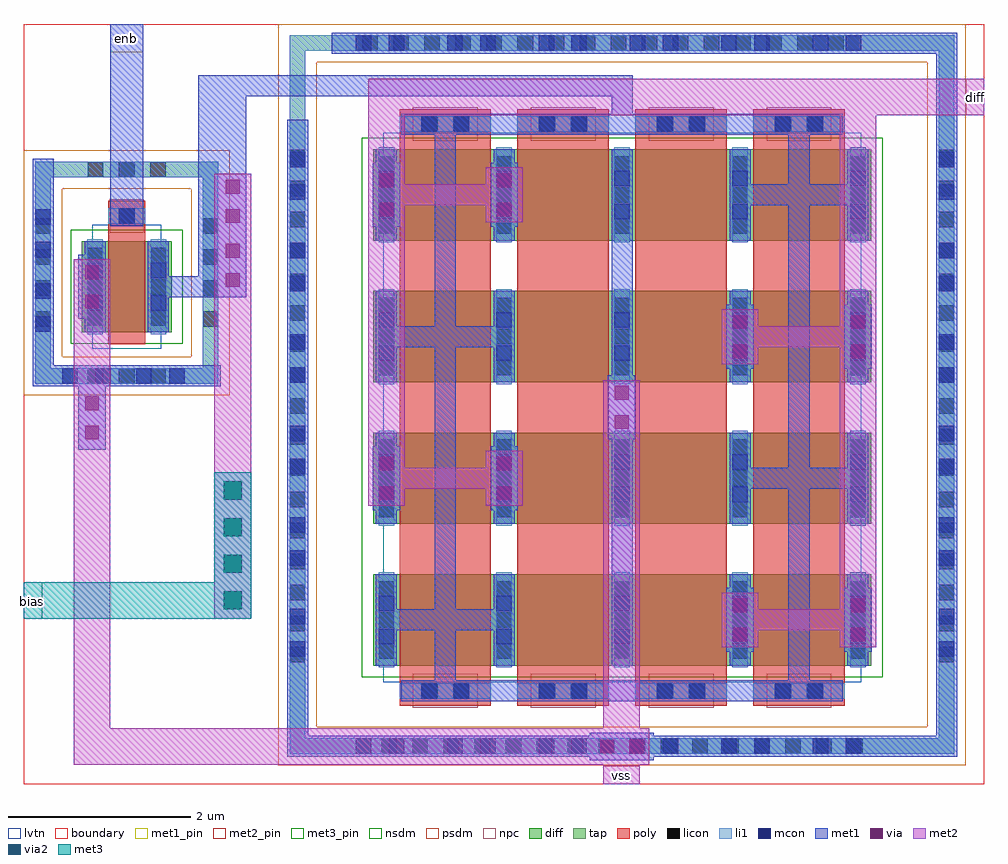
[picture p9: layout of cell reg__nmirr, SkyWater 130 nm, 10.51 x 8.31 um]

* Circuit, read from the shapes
.subckt reg__nmirr bias diff enb vss
XM1 bias enb vss vss sky130_fd_pr__nfet_01v8_lvt w=1 l=0.4
XM2 bias bias bias vss sky130_fd_pr__nfet_01v8_lvt w=1 l=1 m=4
XM3 diff bias diff vss sky130_fd_pr__nfet_01v8_lvt w=1 l=1 m=4
XM4 vss bias bias vss sky130_fd_pr__nfet_01v8_lvt w=1 l=1 m=4
XM5 vss bias diff vss sky130_fd_pr__nfet_01v8_lvt w=1 l=1 m=4
.ends

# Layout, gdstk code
from math import pi, radians
import gdstk
lib = gdstk.Library(unit=1e-6, precision=1e-09)
def R(c, l, rs):  # rectangles x0, y0, x1, y1
    for r in rs: c.add(gdstk.rectangle(r[:2], r[2:], *l))
def A(c, l, x, y, w, h, nx, ny, dx, dy):  # array of equal rectangles
    R(c, l, [(x+i*dx, y+j*dy, x+i*dx+w, y+j*dy+h) for i in range(nx) for j in range(ny)])
diff = (65, 20)
tap = (65, 44)
poly = (66, 20)
licon = (66, 44)
li1 = (67, 20)
mcon = (67, 44)
met1_pin = (68, 16)
met1 = (68, 20)
via = (68, 44)
met2_pin = (69, 16)
met2 = (69, 20)
via2 = (69, 44)
met3_pin = (70, 16)
met3 = (70, 20)
nsdm = (93, 44)
psdm = (94, 20)
npc = (95, 20)
lvtn = (125, 44)
boundary = (235, 4)

via__m1_m2 = lib.new_cell('via__M1_M2')
R(via__m1_m2, met1, [(0,0.05,0.7,0.35)])
R(via__m1_m2, via, [(0.115,0.125,0.265,0.275), (0.435,0.125,0.585,0.275)])
R(via__m1_m2, met2, [(0.05,0,0.65,0.4)])

regnm__m6_gate = lib.new_cell('regnm__M6_gate')
R(regnm__m6_gate, diff, [(-0.79,-0.655,0.79,0.345)])
R(regnm__m6_gate, poly, [(-0.5,-0.785,0.5,0.785)])
A(regnm__m6_gate, licon, -0.73, -0.58, 0.17, 0.17, 1, 3, 0, 0.34)
A(regnm__m6_gate, licon, 0.56, -0.58, 0.17, 0.17, 1, 3, 0, 0.34)
R(regnm__m6_gate, licon, [(-0.255,0.535,-0.085,0.705), (0.085,0.535,0.255,0.705)])
R(regnm__m6_gate, li1, [(-0.73,-0.675,-0.56,0.365), (0.56,-0.675,0.73,0.365), (-0.5,0.535,0.5,0.705)])
R(regnm__m6_gate, mcon, [(-0.73,-0.42,-0.56,-0.25), (0.56,-0.42,0.73,-0.25), (-0.73,-0.06,-0.56,0.11), (0.56,-0.06,0.73,0.11), (-0.265,0.535,-0.095,0.705), (0.095,0.535,0.265,0.705)])
R(regnm__m6_gate, met1, [(-0.76,-0.655,-0.53,0.345), (0.53,-0.655,0.76,0.345), (-0.48,0.505,0.48,0.735)])
R(regnm__m6_gate, nsdm, [(-0.915,-0.78,0.915,0.47)])
R(regnm__m6_gate, npc, [(-0.355,0.435,0.355,0.805)])
R(regnm__m6_gate, lvtn, [(-0.68,-0.835,0.68,0.525)])

regnm__m5_gate = lib.new_cell('regnm__M5_gate')
R(regnm__m5_gate, diff, [(-0.79,-0.655,0.79,0.345)])
R(regnm__m5_gate, poly, [(-0.5,-0.785,0.5,0.785)])
A(regnm__m5_gate, licon, -0.73, -0.58, 0.17, 0.17, 1, 3, 0, 0.34)
A(regnm__m5_gate, licon, 0.56, -0.58, 0.17, 0.17, 1, 3, 0, 0.34)
R(regnm__m5_gate, licon, [(-0.255,0.535,-0.085,0.705), (0.085,0.535,0.255,0.705)])
R(regnm__m5_gate, li1, [(-0.73,-0.675,-0.56,0.365), (0.56,-0.675,0.73,0.365), (-0.5,0.535,0.5,0.705)])
R(regnm__m5_gate, mcon, [(-0.73,-0.42,-0.56,-0.25), (0.56,-0.42,0.73,-0.25), (-0.73,-0.06,-0.56,0.11), (0.56,-0.06,0.73,0.11), (-0.265,0.535,-0.095,0.705), (0.095,0.535,0.265,0.705)])
R(regnm__m5_gate, met1, [(-0.76,-0.655,-0.53,0.345), (0.53,-0.655,0.76,0.345), (-0.48,0.505,0.48,0.735)])
R(regnm__m5_gate, nsdm, [(-0.915,-0.78,0.915,0.47)])
R(regnm__m5_gate, npc, [(-0.355,0.435,0.355,0.805)])
R(regnm__m5_gate, lvtn, [(-0.68,-0.835,0.68,0.525)])

regnm__dum_2 = lib.new_cell('regnm__DUM_2')
R(regnm__dum_2, diff, [(-0.79,-0.655,0.79,0.345)])
R(regnm__dum_2, poly, [(-0.5,-0.785,0.5,0.785)])
A(regnm__dum_2, licon, -0.73, -0.58, 0.17, 0.17, 1, 3, 0, 0.34)
A(regnm__dum_2, licon, 0.56, -0.58, 0.17, 0.17, 1, 3, 0, 0.34)
R(regnm__dum_2, licon, [(-0.255,0.535,-0.085,0.705), (0.085,0.535,0.255,0.705)])
R(regnm__dum_2, li1, [(-0.73,-0.675,-0.56,0.365), (0.56,-0.675,0.73,0.365), (-0.5,0.535,0.5,0.705)])
R(regnm__dum_2, mcon, [(-0.73,-0.42,-0.56,-0.25), (0.56,-0.42,0.73,-0.25), (-0.73,-0.06,-0.56,0.11), (0.56,-0.06,0.73,0.11), (-0.265,0.535,-0.095,0.705), (0.095,0.535,0.265,0.705)])
R(regnm__dum_2, met1, [(-0.76,-0.655,-0.53,0.345), (0.53,-0.655,0.76,0.345), (-0.48,0.505,0.48,0.735)])
R(regnm__dum_2, nsdm, [(-0.915,-0.78,0.915,0.47)])
R(regnm__dum_2, npc, [(-0.355,0.435,0.355,0.805)])
R(regnm__dum_2, lvtn, [(-0.68,-0.835,0.68,0.525)])

regnm__m5 = lib.new_cell('regnm__M5')
R(regnm__m5, diff, [(-0.79,-0.5,0.79,0.5)])
R(regnm__m5, poly, [(-0.5,-0.63,0.5,0.63)])
A(regnm__m5, licon, -0.73, -0.425, 0.17, 0.17, 1, 3, 0, 0.34)
A(regnm__m5, licon, 0.56, -0.425, 0.17, 0.17, 1, 3, 0, 0.34)
R(regnm__m5, li1, [(-0.73,-0.52,-0.56,0.52), (0.56,-0.52,0.73,0.52)])
R(regnm__m5, mcon, [(-0.73,-0.265,-0.56,-0.095), (0.56,-0.265,0.73,-0.095), (-0.73,0.095,-0.56,0.265), (0.56,0.095,0.73,0.265)])
R(regnm__m5, met1, [(-0.76,-0.5,-0.53,0.5), (0.53,-0.5,0.76,0.5)])
R(regnm__m5, nsdm, [(-0.915,-0.625,0.915,0.625)])
R(regnm__m5, lvtn, [(-0.68,-0.68,0.68,0.68)])

regnm__m6 = lib.new_cell('regnm__M6')
R(regnm__m6, diff, [(-0.79,-0.5,0.79,0.5)])
R(regnm__m6, poly, [(-0.5,-0.63,0.5,0.63)])
A(regnm__m6, licon, -0.73, -0.425, 0.17, 0.17, 1, 3, 0, 0.34)
A(regnm__m6, licon, 0.56, -0.425, 0.17, 0.17, 1, 3, 0, 0.34)
R(regnm__m6, li1, [(-0.73,-0.52,-0.56,0.52), (0.56,-0.52,0.73,0.52)])
R(regnm__m6, mcon, [(-0.73,-0.265,-0.56,-0.095), (0.56,-0.265,0.73,-0.095), (-0.73,0.095,-0.56,0.265), (0.56,0.095,0.73,0.265)])
R(regnm__m6, met1, [(-0.76,-0.5,-0.53,0.5), (0.53,-0.5,0.76,0.5)])
R(regnm__m6, nsdm, [(-0.915,-0.625,0.915,0.625)])
R(regnm__m6, lvtn, [(-0.68,-0.68,0.68,0.68)])

regnm__dum_1 = lib.new_cell('regnm__DUM_1')
R(regnm__dum_1, diff, [(-0.79,-0.5,0.79,0.5)])
R(regnm__dum_1, poly, [(-0.5,-0.63,0.5,0.63)])
A(regnm__dum_1, licon, -0.73, -0.425, 0.17, 0.17, 1, 3, 0, 0.34)
A(regnm__dum_1, licon, 0.56, -0.425, 0.17, 0.17, 1, 3, 0, 0.34)
R(regnm__dum_1, li1, [(-0.73,-0.52,-0.56,0.52), (0.56,-0.52,0.73,0.52)])
R(regnm__dum_1, mcon, [(-0.73,-0.265,-0.56,-0.095), (0.56,-0.265,0.73,-0.095), (-0.73,0.095,-0.56,0.265), (0.56,0.095,0.73,0.265)])
R(regnm__dum_1, met1, [(-0.76,-0.5,-0.53,0.5), (0.53,-0.5,0.76,0.5)])
R(regnm__dum_1, nsdm, [(-0.915,-0.625,0.915,0.625)])
R(regnm__dum_1, lvtn, [(-0.68,-0.68,0.68,0.68)])

regnm__m9 = lib.new_cell('regnm__M9')
R(regnm__m9, diff, [(-0.49,-0.655,0.49,0.345)])
R(regnm__m9, tap, [(-1,-1.215,1,-1.045), (-1,-1.045,-0.83,1.045), (0.83,-1.045,1,1.045), (-1,1.045,1,1.215)])
R(regnm__m9, poly, [(-0.2,-0.785,0.2,0.785)])
A(regnm__m9, licon, -0.425, -1.215, 0.17, 0.17, 3, 2, 0.34, 2.26)
A(regnm__m9, licon, -1, -0.595, 0.17, 0.17, 1, 4, 0, 0.34)
A(regnm__m9, licon, 0.83, -0.595, 0.17, 0.17, 1, 4, 0, 0.34)
A(regnm__m9, licon, -0.43, -0.58, 0.17, 0.17, 1, 3, 0, 0.34)
A(regnm__m9, licon, 0.26, -0.58, 0.17, 0.17, 1, 3, 0, 0.34)
R(regnm__m9, licon, [(-0.085,0.535,0.085,0.705)])
R(regnm__m9, li1, [(-1,-1.215,1,-1.045), (-1,-1.045,-0.83,1.045), (0.83,-1.045,1,1.045), (-0.43,-0.675,-0.26,0.365), (0.26,-0.675,0.43,0.365), (-0.2,0.535,0.2,0.705), (-1,1.045,1,1.215)])
R(regnm__m9, mcon, [(-0.43,-0.42,-0.26,-0.25), (0.26,-0.42,0.43,-0.25), (-0.43,-0.06,-0.26,0.11), (0.26,-0.06,0.43,0.11), (-0.085,0.535,0.085,0.705)])
R(regnm__m9, met1, [(-0.46,-0.655,-0.23,0.345), (0.23,-0.655,0.46,0.345), (-0.18,0.505,0.18,0.735)])
R(regnm__m9, nsdm, [(-0.615,-0.78,0.615,0.47)])
R(regnm__m9, psdm, [(-1.125,-1.34,1.125,-0.92), (-1.125,-0.92,-0.705,0.92), (0.705,-0.92,1.125,0.92), (-1.125,0.92,1.125,1.34)])
R(regnm__m9, npc, [(-0.185,0.435,0.185,0.805)])
R(regnm__m9, lvtn, [(-0.38,-0.835,0.38,0.525)])
R(regnm__m9, boundary, [(-0.915,-1.13,0.915,1.13)])

regnm__guardring_n = lib.new_cell('regnm__Guardring_N')
A(regnm__guardring_n, licon, -19.74, -8.68, 0.17, 0.17, 16, 1, 0.34, 0)
A(regnm__guardring_n, licon, -20.74, -7.68, 0.17, 0.17, 1, 17, 0, 0.34)
A(regnm__guardring_n, licon, -13.64, -7.68, 0.17, 0.17, 1, 17, 0, 0.34)
A(regnm__guardring_n, licon, -19.95, -0.99, 0.17, 0.17, 16, 1, 0.34, 0)
regnm__guardring_n.add(gdstk.FlexPath([(-20.74,-0.905),(-13.555,-0.905),(-13.555,-8.595),(-20.655,-8.595),(-20.655,-0.905)], 0.17, ends="flush", simple_path=True, layer=67, datatype=20))  # li1
regnm__guardring_n.add(gdstk.FlexPath([(-20.74,-0.905),(-13.555,-0.905),(-13.555,-8.595),(-20.655,-8.595),(-20.655,-0.905)], 0.17, ends="flush", simple_path=True, layer=65, datatype=44))  # tap
regnm__guardring_n.add(gdstk.FlexPath([(-20.865,-0.905),(-13.555,-0.905),(-13.555,-8.595),(-20.655,-8.595),(-20.655,-0.905)], 0.42, ends="flush", simple_path=True, layer=94, datatype=20))  # psdm

via__li_m1 = lib.new_cell('via__LI_M1')
R(via__li_m1, li1, [(0.03,0.03,0.56,0.2)])
R(via__li_m1, mcon, [(0.03,0.03,0.2,0.2), (0.39,0.03,0.56,0.2)])
R(via__li_m1, met1, [(0,0,0.59,0.23)])

via__m2_m3 = lib.new_cell('via__M2_M3')
R(via__m2_m3, met2, [(0,0,0.8,0.4)])
R(via__m2_m3, via2, [(0.1,0.1,0.3,0.3), (0.1,0.1,0.3,0.3), (0.5,0.1,0.7,0.3), (0.5,0.1,0.7,0.3)])
R(via__m2_m3, met3, [(0,0,0.8,0.4)])

reg__nmirr = lib.new_cell('reg__nmirr')
A(reg__nmirr, poly, 4.11, 1.165, 1, 5.91, 4, 1, 1.29, 0)
R(reg__nmirr, met1_pin, [(0.945,8.005,1.305,8.315)])
R(reg__nmirr, met1, [(4.725,0.905,5.42,1.135), (6.38,0.905,6.71,1.135), (7.67,0.905,8.365,1.135), (0.945,6.1,1.305,8.315), (2.135,6.725,2.435,7.755), (4.725,7.105,5.42,7.335), (6.38,7.105,6.71,7.335), (7.67,7.105,8.365,7.335)])
R(reg__nmirr, met2_pin, [(6.34,0,6.74,0.2), (10.305,7.315,10.505,7.715)])
R(reg__nmirr, met3_pin, [(0,1.81,0.2,2.21)])
R(reg__nmirr, nsdm, [(3.695,1.17,9.395,7.07)])
R(reg__nmirr, lvtn, [(3.93,1.115,9.16,7.125)])
R(reg__nmirr, boundary, [(0,0,10.505,8.315)])
reg__nmirr.add(gdstk.FlexPath([(6.545,7.64),(2.02,7.64)], 0.23, ends="extended", simple_path=True, layer=68, datatype=20))  # met1
reg__nmirr.add(gdstk.FlexPath([(3.965,4.895),(4.61,4.895)], 0.23, ends="extended", simple_path=True, layer=68, datatype=20))  # met1
reg__nmirr.add(gdstk.FlexPath([(6.545,5.945),(6.545,1.41)], 0.23, ends="extended", simple_path=True, layer=68, datatype=20))  # met1
reg__nmirr.add(gdstk.FlexPath([(4.61,7.22),(4.61,1.02)], 0.23, ends="extended", simple_path=True, layer=68, datatype=20))  # met1
reg__nmirr.add(gdstk.FlexPath([(8.48,7.22),(8.48,1.02)], 0.23, ends="extended", simple_path=True, layer=68, datatype=20))  # met1
reg__nmirr.add(gdstk.FlexPath([(3.965,1.795),(4.61,1.795)], 0.23, ends="extended", simple_path=True, layer=68, datatype=20))  # met1
reg__nmirr.add(gdstk.FlexPath([(7.835,6.445),(8.48,6.445)], 0.23, ends="extended", simple_path=True, layer=68, datatype=20))  # met1
reg__nmirr.add(gdstk.FlexPath([(7.835,3.345),(8.48,3.345)], 0.23, ends="extended", simple_path=True, layer=68, datatype=20))  # met1
reg__nmirr.add(gdstk.FlexPath([(4.61,4.895),(5.255,4.895)], 0.23, ends="extended", simple_path=True, layer=68, datatype=20))  # met1
reg__nmirr.add(gdstk.FlexPath([(4.61,1.795),(5.255,1.795)], 0.23, ends="extended", simple_path=True, layer=68, datatype=20))  # met1
reg__nmirr.add(gdstk.FlexPath([(8.48,6.445),(9.125,6.445)], 0.23, ends="extended", simple_path=True, layer=68, datatype=20))  # met1
reg__nmirr.add(gdstk.FlexPath([(8.48,3.345),(9.125,3.345)], 0.23, ends="extended", simple_path=True, layer=68, datatype=20))  # met1
reg__nmirr.add(gdstk.FlexPath([(6.545,7.22),(6.545,7.64)], 0.23, ends="extended", simple_path=True, layer=68, datatype=20))  # met1
reg__nmirr.add(gdstk.FlexPath([(2.02,7.635),(2.02,5.44),(1.47,5.44)], 0.23, ends="extended", simple_path=True, layer=68, datatype=20))  # met1
reg__nmirr.add(gdstk.FlexPath([(3.485,8.105),(10.095,8.105),(10.095,0.415),(2.995,0.415),(2.995,7.15)], 0.23, ends="extended", simple_path=True, layer=68, datatype=20))  # met1
reg__nmirr.add(gdstk.FlexPath([(2.04,4.465),(0.21,4.465),(0.21,6.725)], 0.23, ends="extended", simple_path=True, layer=68, datatype=20))  # met1
reg__nmirr.add(gdstk.FlexPath([(2.285,2.01),(0.2,2.01)], 0.4, ends="extended", simple_path=True, layer=70, datatype=20))  # met3
reg__nmirr.add(gdstk.FlexPath([(2.285,6.475),(2.285,2.01)], 0.4, ends="extended", simple_path=True, layer=69, datatype=20))  # met2
reg__nmirr.add(gdstk.FlexPath([(5.34,6.445),(3.88,6.445)], 0.23, ends="extended", simple_path=True, layer=69, datatype=20))  # met2
reg__nmirr.add(gdstk.FlexPath([(5.34,3.345),(3.88,3.345)], 0.23, ends="extended", simple_path=True, layer=69, datatype=20))  # met2
reg__nmirr.add(gdstk.FlexPath([(9.21,1.795),(7.75,1.795)], 0.23, ends="extended", simple_path=True, layer=69, datatype=20))  # met2
reg__nmirr.add(gdstk.FlexPath([(9.21,4.895),(7.75,4.895)], 0.23, ends="extended", simple_path=True, layer=69, datatype=20))  # met2
reg__nmirr.add(gdstk.FlexPath([(3.965,7.515),(3.965,3.245)], 0.4, ends="extended", simple_path=True, layer=69, datatype=20))  # met2
reg__nmirr.add(gdstk.FlexPath([(6.54,4.22),(6.54,0.2)], 0.4, ends="extended", simple_path=True, layer=69, datatype=20))  # met2
reg__nmirr.add(gdstk.FlexPath([(9.125,7.515),(9.125,1.695)], 0.4, ends="extended", simple_path=True, layer=69, datatype=20))  # met2
reg__nmirr.add(gdstk.FlexPath([(3.965,7.515),(10.305,7.515)], 0.4, ends="extended", simple_path=True, layer=69, datatype=20))  # met2
reg__nmirr.add(gdstk.FlexPath([(6.64,0.41),(0.745,0.41),(0.745,4.94)], 0.4, ends="extended", simple_path=True, layer=69, datatype=20))  # met2
reg__nmirr.add(gdstk.Reference(via__m1_m2, (6.74,3.77), rotation=pi/2))
reg__nmirr.add(gdstk.Reference(regnm__m6_gate, (5.9,1.64), rotation=pi))
reg__nmirr.add(gdstk.Reference(regnm__m5_gate, (7.19,1.64), rotation=pi))
reg__nmirr.add(gdstk.Reference(regnm__dum_2, (8.48,1.64), rotation=pi))
reg__nmirr.add(gdstk.Reference(regnm__dum_2, (4.61,1.64), rotation=pi))
reg__nmirr.add(gdstk.Reference(regnm__m5, (5.9,3.345)))
reg__nmirr.add(gdstk.Reference(regnm__m6, (5.9,4.895)))
reg__nmirr.add(gdstk.Reference(regnm__m5_gate, (5.9,6.6)))
reg__nmirr.add(gdstk.Reference(via__m1_m2, (4.165,2.995), rotation=pi/2))
reg__nmirr.add(gdstk.Reference(regnm__m6, (7.19,3.345)))
reg__nmirr.add(gdstk.Reference(regnm__m5, (7.19,4.895)))
reg__nmirr.add(gdstk.Reference(regnm__m6_gate, (7.19,6.6)))
reg__nmirr.add(gdstk.Reference(regnm__dum_1, (8.48,3.345)))
reg__nmirr.add(gdstk.Reference(regnm__dum_1, (8.48,4.895)))
reg__nmirr.add(gdstk.Reference(regnm__dum_2, (8.48,6.6)))
reg__nmirr.add(gdstk.Reference(regnm__dum_1, (4.61,3.345)))
reg__nmirr.add(gdstk.Reference(regnm__dum_1, (4.61,4.895)))
reg__nmirr.add(gdstk.Reference(regnm__dum_2, (4.61,6.6)))
reg__nmirr.add(gdstk.Reference(via__m1_m2, (5.455,6.095), rotation=pi/2))
reg__nmirr.add(gdstk.Reference(via__m1_m2, (8.035,4.545), rotation=pi/2))
reg__nmirr.add(gdstk.Reference(via__m1_m2, (9.325,4.545), rotation=pi/2))
reg__nmirr.add(gdstk.Reference(via__m1_m2, (8.035,1.445), rotation=pi/2))
reg__nmirr.add(gdstk.Reference(via__m1_m2, (9.325,1.445), rotation=pi/2))
reg__nmirr.add(gdstk.Reference(via__m1_m2, (5.455,2.995), rotation=pi/2))
reg__nmirr.add(gdstk.Reference(via__m1_m2, (4.165,6.095), rotation=pi/2))
reg__nmirr.add(gdstk.Reference(via__m1_m2, (0.545,5.79), rotation=3*pi/2))
reg__nmirr.add(gdstk.Reference(regnm__m9, (1.125,5.595)))
reg__nmirr.add(gdstk.Reference(regnm__guardring_n, (23.65,9.01)))
reg__nmirr.add(gdstk.Reference(via__li_m1, (3.6,7.99)))
reg__nmirr.add(gdstk.Reference(via__li_m1, (4.6,7.99)))
reg__nmirr.add(gdstk.Reference(via__li_m1, (5.6,7.99)))
reg__nmirr.add(gdstk.Reference(via__li_m1, (6.6,7.99)))
reg__nmirr.add(gdstk.Reference(via__li_m1, (7.6,7.99)))
reg__nmirr.add(gdstk.Reference(via__li_m1, (8.6,7.99)))
reg__nmirr.add(gdstk.Reference(via__li_m1, (3.6,0.3)))
reg__nmirr.add(gdstk.Reference(via__li_m1, (4.6,0.3)))
reg__nmirr.add(gdstk.Reference(via__li_m1, (5.6,0.3)))
reg__nmirr.add(gdstk.Reference(via__li_m1, (6.6,0.3)))
reg__nmirr.add(gdstk.Reference(via__li_m1, (7.6,0.3)))
reg__nmirr.add(gdstk.Reference(via__li_m1, (8.6,0.3)))
reg__nmirr.add(gdstk.Reference(via__li_m1, (9.98,6.95), rotation=3*pi/2))
reg__nmirr.add(gdstk.Reference(via__li_m1, (9.98,5.95), rotation=3*pi/2))
reg__nmirr.add(gdstk.Reference(via__li_m1, (9.98,4.95), rotation=3*pi/2))
reg__nmirr.add(gdstk.Reference(via__li_m1, (9.98,3.95), rotation=3*pi/2))
reg__nmirr.add(gdstk.Reference(via__li_m1, (9.98,2.95), rotation=3*pi/2))
reg__nmirr.add(gdstk.Reference(via__li_m1, (9.98,1.95), rotation=3*pi/2))
reg__nmirr.add(gdstk.Reference(via__li_m1, (2.88,6.95), rotation=3*pi/2))
reg__nmirr.add(gdstk.Reference(via__li_m1, (2.88,5.95), rotation=3*pi/2))
reg__nmirr.add(gdstk.Reference(via__li_m1, (2.88,4.95), rotation=3*pi/2))
reg__nmirr.add(gdstk.Reference(via__li_m1, (2.88,3.95), rotation=3*pi/2))
reg__nmirr.add(gdstk.Reference(via__li_m1, (2.88,2.95), rotation=3*pi/2))
reg__nmirr.add(gdstk.Reference(via__li_m1, (2.88,1.95), rotation=3*pi/2))
reg__nmirr.add(gdstk.Reference(via__m1_m2, (6.19,0.21)))
reg__nmirr.add(gdstk.Reference(via__m1_m2, (0.945,3.655), rotation=pi/2))
reg__nmirr.add(gdstk.Reference(via__li_m1, (1.79,4.58), rotation=pi))
reg__nmirr.add(gdstk.Reference(via__li_m1, (0.98,4.58), rotation=pi))
reg__nmirr.add(gdstk.Reference(via__li_m1, (0.325,4.92), rotation=pi/2))
reg__nmirr.add(gdstk.Reference(via__li_m1, (0.325,5.73), rotation=pi/2))
reg__nmirr.add(gdstk.Reference(via__m1_m2, (2.085,6.025), rotation=3*pi/2))
reg__nmirr.add(gdstk.Reference(via__m2_m3, (2.085,3.41), rotation=3*pi/2))
reg__nmirr.add(gdstk.Reference(via__m1_m2, (2.085,6.725), rotation=3*pi/2))
reg__nmirr.add(gdstk.Reference(via__m2_m3, (2.085,2.61), rotation=3*pi/2))
reg__nmirr.add(gdstk.Label('enb', (1.12,8.16), layer=68, texttype=16))
reg__nmirr.add(gdstk.Label('diff', (10.41,7.51), layer=69, texttype=16))
reg__nmirr.add(gdstk.Label('vss', (6.535,0.095), layer=69, texttype=16))
reg__nmirr.add(gdstk.Label('bias', (0.08,2), layer=70, texttype=16))

lib.write_gds('reg__nmirr.gds')
